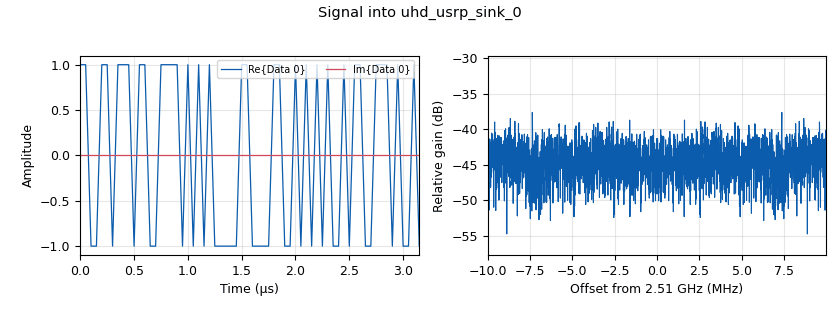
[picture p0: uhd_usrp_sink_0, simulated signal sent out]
<?xml version='1.0' encoding='utf-8'?>
<?grc format='1' created='3.7.11'?>
<flow_graph>
<block>
<key>options</key>
<param><key>id</key><value>top_block</value></param>
<param><key>generate_options</key><value>no_gui</value></param>
</block>
<block>
<key>variable</key>
<param><key>id</key><value>num_pulses</value></param>
<param><key>value</key><value>20000</value></param>
</block>
<block>
<key>variable</key>
<param><key>id</key><value>pulse_length</value></param>
<param><key>value</key><value>1</value></param>
</block>
<block>
<key>variable</key>
<param><key>id</key><value>samp_rate</value></param>
<param><key>value</key><value>20000000</value></param>
</block>
<block>
<key>blocks_vector_source_x</key>
<param><key>id</key><value>blocks_vector_source_x_0</value></param>
<param><key>type</key><value>complex</value></param>
<param><key>repeat</key><value>True</value></param>
<param><key>vector</key><value>np.reshape(np.matlib.repmat(np.random.randint(0,2,num_pulses)*2-1,pulse_length,1).T,[1,num_pulses*pulse_length])[0].tolist()</value></param>
</block>
<block>
<key>import</key>
<param><key>id</key><value>import_0</value></param>
<param><key>comment</key><value>numpy</value></param>
<param><key>import</key><value>import numpy as np </value></param>
</block>
<block>
<key>import</key>
<param><key>id</key><value>import_1</value></param>
<param><key>comment</key><value>numpy.matlib</value></param>
<param><key>import</key><value>import numpy.matlib</value></param>
</block>
<block>
<key>uhd_usrp_sink</key>
<param><key>id</key><value>uhd_usrp_sink_0</value></param>
<param><key>ant0</key><value>TX/RX</value></param>
<param><key>bw0</key><value>10000000</value></param>
<param><key>center_freq0</key><value>2510000000</value></param>
<param><key>norm_gain0</key><value>False</value></param>
<param><key>gain0</key><value>50</value></param>
<param><key>clock_rate</key><value>0.0</value></param>
<param><key>dev_args</key><value>""</value></param>
<param><key>type</key><value>fc32</value></param>
<param><key>clock_source0</key><value>external</value></param>
<param><key>time_source0</key><value>external</value></param>
<param><key>samp_rate</key><value>samp_rate</value></param>
<param><key>hide_cmd_port</key><value>False</value></param>
<param><key>hide_lo_controls</key><value>True</value></param>
<param><key>sync</key><value></value></param>
<param><key>len_tag_name</key><value></value></param>
</block>
<connection><source_block_id>blocks_vector_source_x_0</source_block_id><sink_block_id>uhd_usrp_sink_0</sink_block_id><source_key>0</source_key><sink_key>0</sink_key></connection>
</flow_graph>
